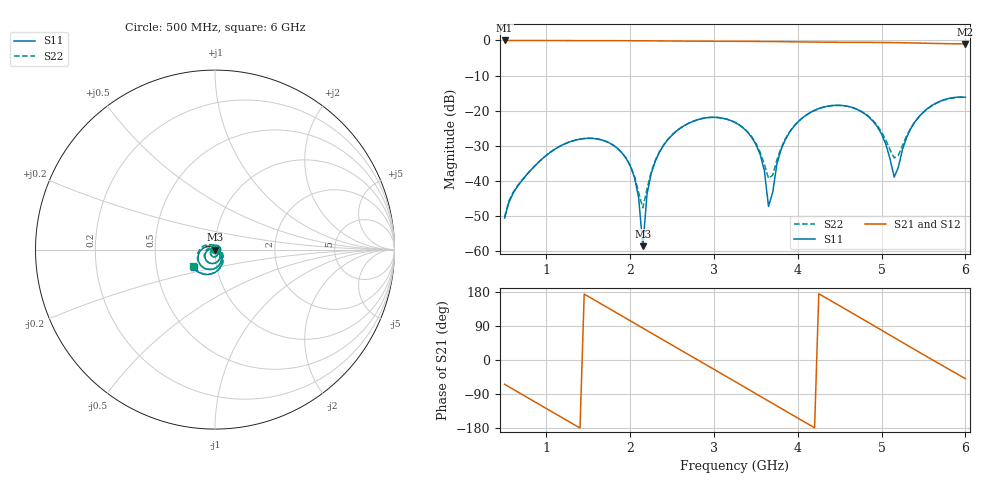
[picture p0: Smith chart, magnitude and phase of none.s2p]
! Touchstone file from project sampleWidthScale-none
! Exported from HFSS-IE 2014.0.2
! Variables:
!  $perm = 6
!  impedance = 157.9ohm
!  insulationThickness = 0in
!  length = 4in
!  portSize = 1mm
!  sampleSide = 0.125in
!  sampleThickness = 0.25in
!  scale = 1
!  spacing = 0.25in
!  wireDiam = 0.125in
!  wireRadius = 0.0625in
# GHZ S MA R 157.900000
! Terminal data exported
! Port[1] = Rectangle2_T1
! Port[2] = Rectangle2_T2
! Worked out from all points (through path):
!   111 points, 500 MHz to 6 GHz, reference 157.9 ohm
!   highest |S21| = 0.00 dB at 500 MHz (marker M1); lowest = -1.0 dB at 6 GHz (marker M2)
!   group delay of S21, straight-line fit = 356 ps
!   lowest |S11| = -58.5 dB at 2.15 GHz (marker M3), VSWR 1.00, Z = 158 - j0.372 ohm
!   |S11| at or under -10 dB: start of sweep to end of sweep
!   |S22| runs from -50.3 to -16.1 dB; largest |S21 - S12| = 2e-15
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0.5  0.002976 15.3  0.9996 -64.2  0.9996 -64.2  0.003058 37.4
0.9  0.01826 -28.3  0.9975 -115.5  0.9975 -115.5  0.01829 -21.8
1.2  0.03308 -64.7  0.9952 -153.9  0.9952 -153.9  0.03309 -62.2
1.45  0.0402 -95.3  0.994 174.0  0.994 174.0  0.04018 -95.7
2  0.01637 -161.3  0.9906 103.4  0.9906 103.4  0.01661 -177.9
2.1  0.005782 -166.5  0.9894 90.5  0.9894 90.5  0.006836 146.0
2.15  0.001183 -83.7  0.9886 84.1  0.9886 84.1  0.004144 80.7
2.2  0.006499 -21.1  0.9878 77.7  0.9878 77.7  0.007745 21.9
2.35  0.02597 -32.6  0.985 58.4  0.985 58.4  0.02633 -21.5
2.8  0.07431 -88.1  0.9767 0.8  0.9767 0.8  0.07418 -87.7
3.25  0.06818 -145.8  0.9726 -56.8  0.9726 -56.8  0.06827 -151.0
3.55  0.02392 172.1  0.9684 -95.5  0.9684 -95.5  0.02572 153.2
3.65  0.004358 136.7  0.966 -108.4  0.966 -108.4  0.01092 93.7
3.85  0.03875 -39.2  0.9598 -134.1  0.9598 -134.1  0.03962 -29.2
4.2  0.1015 -86.4  0.9481 -178.9  0.9481 -178.9  0.101 -85.8
4.5  0.1194 -126.2  0.9416 142.9  0.9416 142.9  0.119 -128.8
4.8  0.09025 -168.3  0.9388 104.4  0.9388 104.4  0.09122 -174.6
5.1  0.02077 126.4  0.9333 65.6  0.9333 65.6  0.02784 107.7
5.15  0.01138 78.0  0.9315 59.2  0.9315 59.2  0.02132 70.9
5.35  0.05625 -44.4  0.9225 33.3  0.9225 33.3  0.05725 -37.0
5.55  0.1079 -76.4  0.9114 7.7  0.9114 7.7  0.107 -74.9
6  0.1554 -140.2  0.894 -49.3  0.894 -49.3  0.155 -143.4
